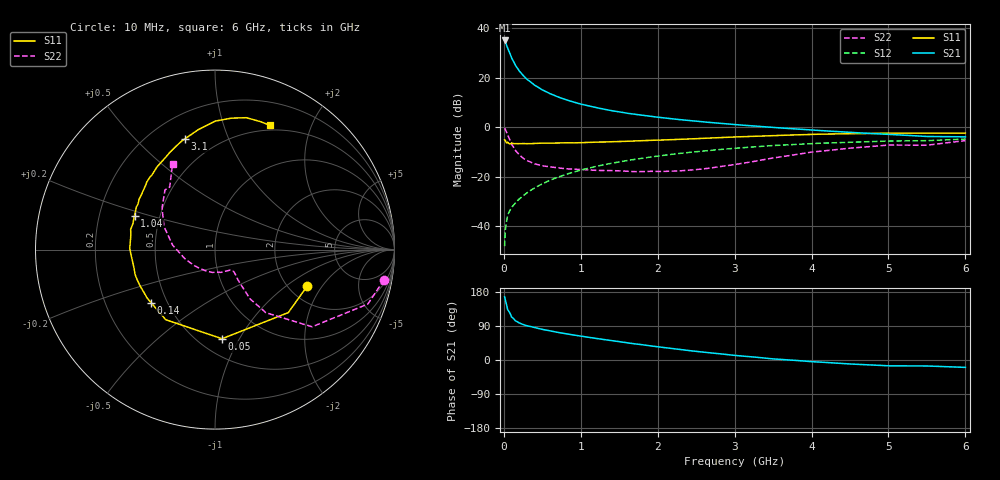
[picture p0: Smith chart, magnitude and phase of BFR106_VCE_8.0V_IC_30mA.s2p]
! Infineon Technologies  Discrete & RF Semiconductors
! BFR106
! VCE =  8.0 V,  IC =  30 mA
! Common Emitter S-Parameters:  Nov 2015
# GHz  S  MA  R  50
!  f  S11  S21  S12  S22
! GHz  MAG  ANG  MAG  ANG  MAG  ANG  MAG  ANG
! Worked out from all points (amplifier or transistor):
!   210 points, 10 MHz to 6 GHz, reference 50 ohm
!   highest |S21| = 35.1 dB at 10 MHz (marker M1)
!   |S21| within 3 dB of that: start of sweep to 48.41 MHz
!   unconditionally stable (mu >= 1): 341.4 MHz to 2.159 GHz
!   at 185 MHz: K = 0.84, MSG = 26.5 dB, |S12| = -29.6 dB
!   at 1.52 GHz: K = 1.05, MAG = 8.6 dB, |S12| = -14.0 dB
!   at 6 GHz: K = 0.98, MSG = 0.5 dB, |S12| = -4.8 dB
!   S11 on the Smith chart (normalised r, x): 10 MHz: 2.51, -1.46; 50 MHz: 0.64, -0.85; 140 MHz: 0.41, -0.31; 1.04 GHz: 0.36, +0.18; 3.1 GHz: 0.34, +0.71; 6 GHz: 0.45, +1.44
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0.01  0.5528 -21.5  56.73 166.8  0.0039 82.4  0.9569 -10.1
0.02  0.5384 -40.7  53.03 156.6  0.0083 74.0  0.9039 -19.6
0.05  0.4982 -85.5  39.66 132.6  0.0165 60.2  0.691 -38.5
0.1  0.4773 -125.1  25.21 113.5  0.0237 56.4  0.4521 -51.1
0.14  0.4628 -140.4  19.23 106.0  0.0281 58.2  0.3595 -53.7
0.15  0.4645 -144.3  17.81 103.4  0.0292 58.6  0.3365 -54.6
0.2  0.4641 -154.8  13.73 97.8  0.0351 61.2  0.2759 -53.9
0.24  0.4658 -160.7  11.6 94.4  0.0395 62.8  0.2418 -53.4
0.26  0.4658 -163.2  10.71 92.9  0.0418 63.7  0.2289 -53.2
0.3  0.4627 -167.4  9.291 90.4  0.0468 65.7  0.2114 -52.8
0.4  0.4675 -175.3  7.062 85.4  0.0588 67.5  0.1805 -50.7
0.5  0.4751 179.1  5.669 80.8  0.0709 68.7  0.1648 -49.4
0.6  0.4735 174.0  4.763 76.8  0.0843 68.8  0.1569 -49.9
0.8  0.4832 166.5  3.613 69.5  0.1095 68.2  0.1438 -52.8
1.02  0.4856 157.8  2.878 62.4  0.1373 66.8  0.1387 -57.7
1.04  0.4865 157.1  2.831 61.8  0.1399 66.7  0.1381 -58.4
1.4  0.5081 146.2  2.153 51.2  0.1855 63.0  0.1319 -71.4
2.02  0.5459 129.7  1.575 34.4  0.2616 55.2  0.1269 -104.0
3.1  0.6395 105.2  1.097 10.5  0.3828 39.9  0.1846 -168.8
4.1  0.7195 88.4  0.855 -5.4  0.4712 24.9  0.3232 152.4
5.1  0.755 75.3  0.701 -15.4  0.524 11.5  0.4329 129.2
6  0.7568 66.1  0.636 -19.5  0.5731 1.2  0.5327 116.3
